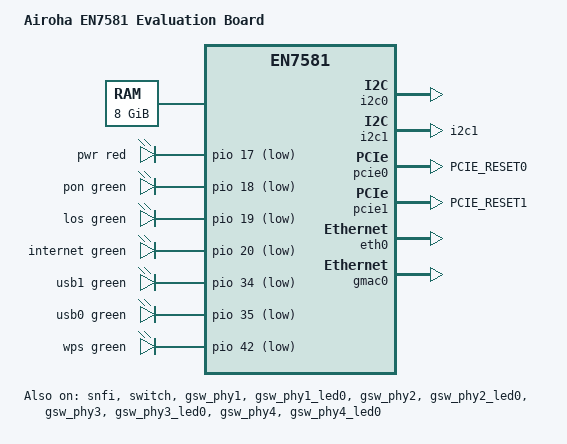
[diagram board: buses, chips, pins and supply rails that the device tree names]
// SPDX-License-Identifier: (GPL-2.0-only OR BSD-2-Clause)
/dts-v1/;

/* Bootloader installs ATF here */
/memreserve/ 0x80000000 0x200000;

#include <dt-bindings/leds/common.h>
#include <dt-bindings/gpio/gpio.h>
#include "en7581.dtsi"

/ {
	model = "Airoha EN7581 Evaluation Board";
	compatible = "airoha,en7581-evb", "airoha,en7581";

	aliases {
		serial0 = &uart1;
	};

	chosen {
		bootargs = "console=ttyS0,115200 earlycon";
		stdout-path = "serial0:115200n8";
		linux,usable-memory-range = <0x0 0x80200000 0x0 0x1fe00000>;
	};

	memory@80000000 {
		device_type = "memory";
		reg = <0x0 0x80000000 0x2 0x00000000>;
	};

	partition@1fa10000 {
		compatible = "fixed-partitions";
		#address-cells = <1>;
		#size-cells = <1>;

		bootloader@0 {
			label = "bootloader";
			reg = <0x00000000 0x00080000>;
		};
		romfile@80000 {
			label = "romfile";
			reg = <0x00080000 0x00040000>;
		};
		tclinux@c0000 {
			label = "tclinux";
			reg = <0x000c0000 0x02500000>;
		};
		tclinux_slave@25c0000 {
			label = "tclinux_slave";
			reg = <0x025c0000 0x02500000>;
		};
	};

	partition-nor@1fa10000 {
		compatible = "fixed-partitions";
		#address-cells = <1>;
		#size-cells = <1>;

		bootloader@0 {
			label = "bootloader";
			reg = <0x00000000 0x00080000>;
		};
		tclinux@80000 {
			label = "tclinux";
			reg = <0x00080000 0x1980000>;
		};
		rootfs_data@5080000 {
			label = "rootfs_data";
			reg = <0x1980000 0x400000>;
		};
	};

	leds {
		compatible = "gpio-leds";

		pwr_led: led-0 {
			label = "pwr";
			color = <LED_COLOR_ID_RED>;
			function = LED_FUNCTION_POWER;
			gpios = <&pio 17 GPIO_ACTIVE_LOW>;
			default-state = "on";
		};

		pon_led: led-1 {
			label = "pon";
			color = <LED_COLOR_ID_GREEN>;
			function = LED_FUNCTION_STATUS;
			gpios = <&pio 18 GPIO_ACTIVE_LOW>;
			default-state = "on";
		};

		los_led: led-2 {
			label = "los";
			color = <LED_COLOR_ID_GREEN>;
			function = LED_FUNCTION_STATUS;
			gpios = <&pio 19 GPIO_ACTIVE_LOW>;
			default-state = "on";
		};

		internet_led: led-3 {
			label = "internet";
			color = <LED_COLOR_ID_GREEN>;
			function = LED_FUNCTION_STATUS;
			gpios = <&pio 20 GPIO_ACTIVE_LOW>;
			default-state = "on";
		};

		usb1_led: led-4 {
			label = "usb1";
			color = <LED_COLOR_ID_GREEN>;
			function = LED_FUNCTION_STATUS;
			gpios = <&pio 34 GPIO_ACTIVE_LOW>;
			default-state = "on";
		};

		usb0_led: led-5 {
			label = "usb0";
			color = <LED_COLOR_ID_GREEN>;
			function = LED_FUNCTION_STATUS;
			gpios = <&pio 35 GPIO_ACTIVE_LOW>;
			default-state = "on";
		};

		wps_led: led-6 {
			label = "wps";
			color = <LED_COLOR_ID_GREEN>;
			function = LED_FUNCTION_STATUS;
			gpios = <&pio 42 GPIO_ACTIVE_LOW>;
			default-state = "on";
		};
	};
};

&pio {
	gpio-ranges = <&pio 0 0 8>, <&pio 13 13 47>,
		      <&pio 61 61 3>;

	i2c1_pins: i2c1-pins {
		mux {
			function = "i2c";
			groups = "i2c1";
		};
	};

	pcie0_rst_pins: pcie0-rst-pins {
		conf {
			pins = "PCIE_RESET0";
			drive-open-drain = <1>;
		};
	};

	pcie1_rst_pins: pcie1-rst-pins {
		conf {
			pins = "PCIE_RESET1";
			drive-open-drain = <1>;
		};
	};

	gswp1_led0_pins: gswp1-led0-pins {
		mux {
			function = "led";
			groups = "lan0_led0";
		};
	};

	gswp1_led1_pins: gswp1-led1-pins {
		mux {
			function = "led";
			groups = "lan0_led1";
		};
	};

	gswp2_led0_pins: gswp2-led0-pins {
		mux {
			function = "led";
			groups = "lan1_led0";
		};
	};

	gswp2_led1_pins: gswp2-led1-pins {
		mux {
			function = "led";
			groups = "lan1_led1";
		};
	};

	gswp3_led0_pins: gswp3-led0-pins {
		mux {
			function = "led";
			groups = "lan2_led0";
		};
	};

	gswp3_led1_pins: gswp3-led1-pins {
		mux {
			function = "led";
			groups = "lan2_led1";
		};
	};

	gswp4_led0_pins: gswp4-led0-pins {
		mux {
			function = "led";
			groups = "lan3_led0";
		};
	};

	gswp4_led1_pins: gswp4-led1-pins {
		mux {
			function = "led";
			groups = "lan3_led1";
		};
	};
};

&snfi {
	status = "okay";
};

&i2c0 {
	status = "okay";
};

&i2c1 {
	pinctrl-names = "default";
	pinctrl-0 = <&i2c1_pins>;
	status = "okay";
};

&pcie0 {
	pinctrl-names = "default";
	pinctrl-0 = <&pcie0_rst_pins>;
	status = "okay";
};

&pcie1 {
	pinctrl-names = "default";
	pinctrl-0 = <&pcie1_rst_pins>;
	status = "okay";
};

&eth0 {
	status = "okay";
};

&gmac0 {
	status = "okay";
};

&switch {
	status = "okay";
};

&gsw_phy1 {
	pinctrl-names = "led";
	pinctrl-0 = <&gswp1_led0_pins>;
	status = "okay";
};

&gsw_phy1_led0 {
	status = "okay";
};

&gsw_phy2 {
	pinctrl-names = "led";
	pinctrl-0 = <&gswp2_led0_pins>;
	status = "okay";
};

&gsw_phy2_led0 {
	status = "okay";
};

&gsw_phy3 {
	pinctrl-names = "led";
	pinctrl-0 = <&gswp3_led0_pins>;
	status = "okay";
};

&gsw_phy3_led0 {
	status = "okay";
};

&gsw_phy4 {
	pinctrl-names = "led";
	pinctrl-0 = <&gswp4_led0_pins>;
	status = "okay";
};

&gsw_phy4_led0 {
	status = "okay";
};
